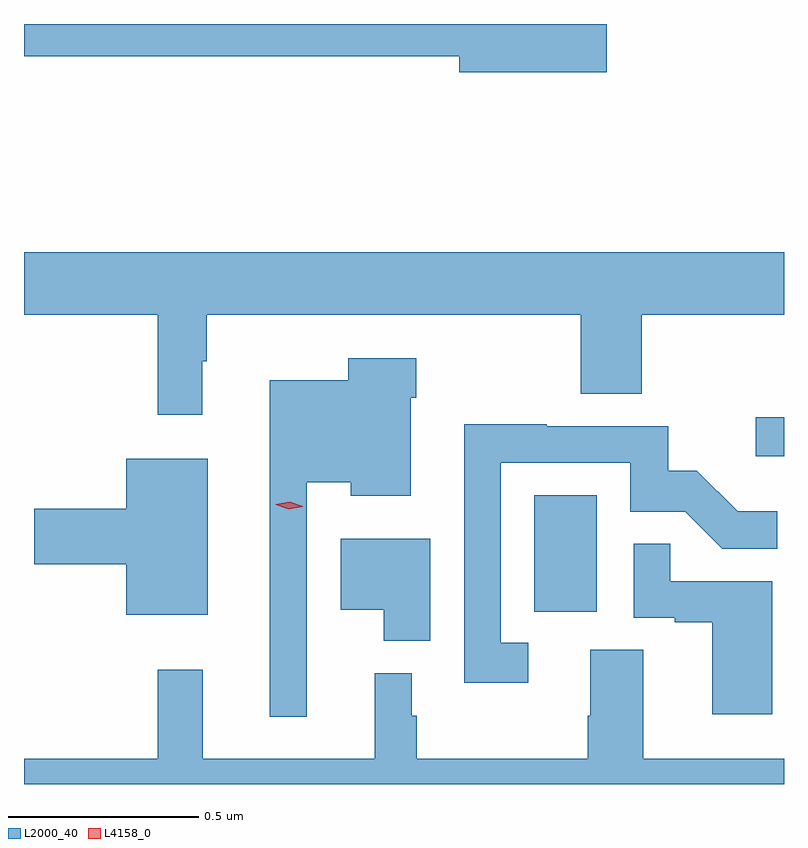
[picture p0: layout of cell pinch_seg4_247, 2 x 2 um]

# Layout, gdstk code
import gdstk
lib = gdstk.Library(unit=1e-6, precision=1e-09)
def R(c, l, rs):  # rectangles x0, y0, x1, y1
    for r in rs: c.add(gdstk.rectangle(r[:2], r[2:], *l))
def P(c, l, *ps):  # polygons
    for p in ps: c.add(gdstk.Polygon(p, *l))
L2000_40 = (2000, 40)
L4158_0 = (4158, 0)

pinch_seg4_247 = lib.new_cell('pinch_seg4_247')
R(pinch_seg4_247, L2000_40, [(913.016,814.686,913.18,814.993), (913.599,815.096,913.673,815.198)])
P(pinch_seg4_247, L2000_40, [(913.207,816.233),(911.673,816.233),(911.673,816.148),(912.818,816.148),(912.818,816.106),(913.207,816.106)],
  [(912.142,815.345),(912.154,815.345),(912.154,815.468),(913.138,815.468),(913.138,815.26),(913.298,815.26),(913.298,815.468),(913.673,815.468),(913.673,815.632),(911.673,815.632),(911.673,815.468),(912.025,815.468),(912.025,815.205),(912.142,815.205)],
  [(912.417,815.027),(912.533,815.027),(912.533,814.991),(912.691,814.991),(912.691,815.249),(912.705,815.249),(912.705,815.353),(912.526,815.353),(912.526,815.296),(912.32,815.296),(912.32,814.41),(912.417,814.41)],
  [(913,814.605),(912.927,814.605),(912.927,815.079),(913.269,815.079),(913.269,814.95),(913.413,814.95),(913.511,814.852),(913.655,814.852),(913.655,814.951),(913.551,814.951),(913.444,815.058),(913.368,815.058),(913.368,815.175),(913.049,815.175),(913.049,815.18),(912.831,815.18),(912.831,814.5),(913,814.5)],
  [(912.157,815.089),(911.942,815.089),(911.942,814.958),(911.7,814.958),(911.7,814.811),(911.942,814.811),(911.942,814.679),(912.157,814.679)],
  [(912.742,814.879),(912.506,814.879),(912.506,814.691),(912.62,814.691),(912.62,814.61),(912.742,814.61)],
  [(913.642,814.767),(913.373,814.767),(913.373,814.865),(913.278,814.865),(913.278,814.671),(913.385,814.671),(913.385,814.659),(913.484,814.659),(913.484,814.416),(913.642,814.416)],
  [(913.673,814.3),(913.303,814.3),(913.303,814.586),(913.163,814.586),(913.163,814.412),(913.156,814.412),(913.156,814.3),(912.706,814.3),(912.706,814.412),(912.694,814.412),(912.694,814.525),(912.596,814.525),(912.596,814.3),(912.143,814.3),(912.143,814.534),(912.025,814.534),(912.025,814.3),(911.673,814.3),(911.673,814.233),(913.673,814.233)])
P(pinch_seg4_247, L4158_0, [(912.37,814.956),(912.335,814.968),(912.335,814.968),(912.335,814.969),(912.372,814.976),(912.406,814.964),(912.406,814.963),(912.406,814.963)])

lib.write_gds('pinch_seg4_247.gds')
